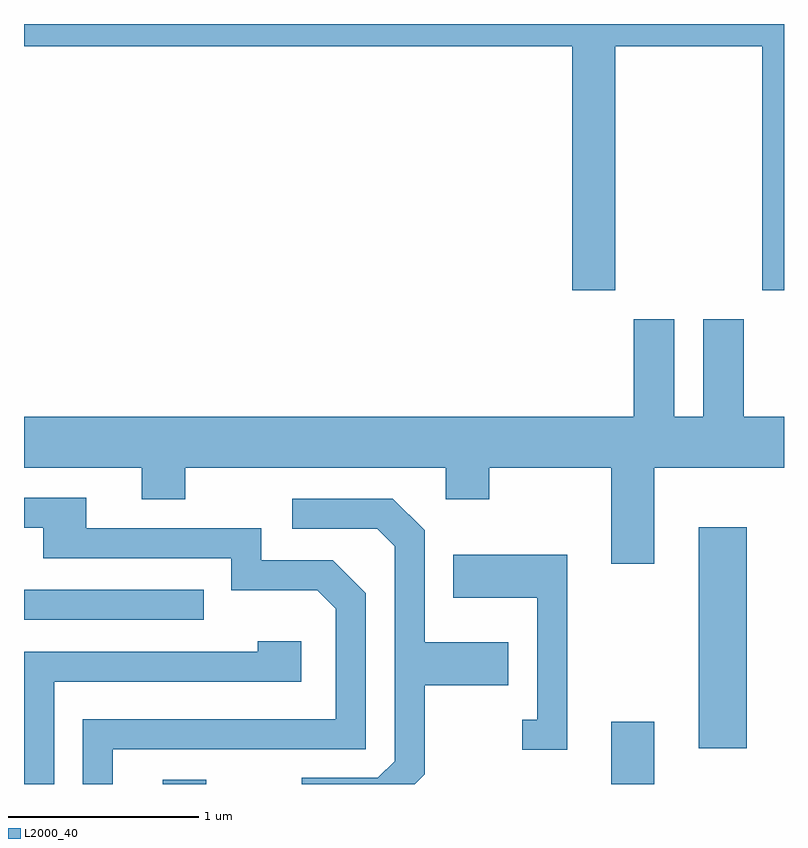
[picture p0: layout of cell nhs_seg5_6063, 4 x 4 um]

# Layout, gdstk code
import gdstk
lib = gdstk.Library(unit=1e-6, precision=1e-09)
def R(c, l, rs):  # rectangles x0, y0, x1, y1
    for r in rs: c.add(gdstk.rectangle(r[:2], r[2:], *l))
def P(c, l, *ps):  # polygons
    for p in ps: c.add(gdstk.Polygon(p, *l))
L2000_40 = (2000, 40)

nhs_seg5_6063 = lib.new_cell('nhs_seg5_6063')
R(nhs_seg5_6063, L2000_40, [(366.341,1404.072,366.569,1404.094), (368.701,1404.072,368.929,1404.399), (369.161,1404.261,369.414,1405.424), (365.611,1404.936,366.558,1405.094)])
P(nhs_seg5_6063, L2000_40, [(368.724,1407.956),(369.496,1407.956),(369.496,1406.671),(369.611,1406.671),(369.611,1408.072),(365.611,1408.072),(365.611,1407.956),(368.496,1407.956),(368.496,1406.671),(368.724,1406.671)],
  [(368.929,1405.736),(369.611,1405.736),(369.611,1406.004),(369.399,1406.004),(369.399,1406.519),(369.186,1406.519),(369.186,1406.004),(369.034,1406.004),(369.034,1406.519),(368.821,1406.519),(368.821,1406.004),(365.611,1406.004),(365.611,1405.736),(366.231,1405.736),(366.231,1405.571),(366.459,1405.571),(366.459,1405.736),(367.831,1405.736),(367.831,1405.571),(368.059,1405.571),(368.059,1405.736),(368.701,1405.736),(368.701,1405.231),(368.929,1405.231)],
  [(366.079,1404.256),(367.409,1404.256),(367.409,1405.077),(367.237,1405.249),(366.859,1405.249),(366.859,1405.419),(365.939,1405.419),(365.939,1405.579),(365.611,1405.579),(365.611,1405.421),(365.711,1405.421),(365.711,1405.261),(366.701,1405.261),(366.701,1405.091),(367.154,1405.091),(367.251,1404.994),(367.251,1404.414),(365.921,1404.414),(365.921,1404.072),(366.079,1404.072)],
  [(367.719,1404.124),(367.719,1404.591),(368.159,1404.591),(368.159,1404.819),(367.719,1404.819),(367.719,1405.407),(367.552,1405.574),(367.023,1405.574),(367.023,1405.416),(367.469,1405.416),(367.561,1405.324),(367.561,1404.192),(367.474,1404.104),(367.073,1404.104),(367.073,1404.072),(367.667,1404.072)],
  [(368.469,1405.279),(367.871,1405.279),(367.871,1405.051),(368.311,1405.051),(368.311,1404.409),(368.233,1404.409),(368.233,1404.251),(368.469,1404.251)],
  [(365.769,1404.611),(367.069,1404.611),(367.069,1404.824),(366.841,1404.824),(366.841,1404.769),(365.611,1404.769),(365.611,1404.072),(365.769,1404.072)])

lib.write_gds('nhs_seg5_6063.gds')
